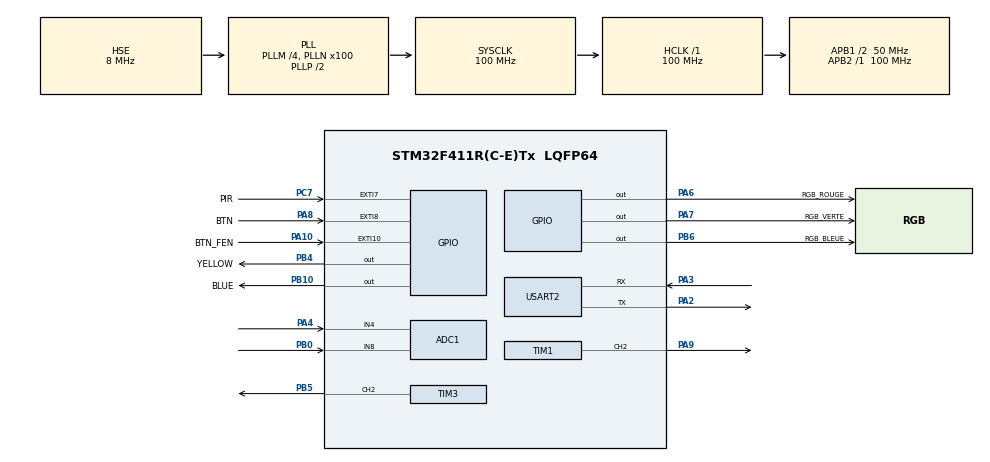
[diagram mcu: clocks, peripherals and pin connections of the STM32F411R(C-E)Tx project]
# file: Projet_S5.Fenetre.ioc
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ADC1.Channel-0\#ChannelRegularConversion=ADC_CHANNEL_4
ADC1.Channel-1\#ChannelRegularConversion=ADC_CHANNEL_8
ADC1.DMAContinuousRequests=ENABLE
ADC1.ExternalTrigConv=ADC_EXTERNALTRIGCONV_T2_TRGO
ADC1.NbrOfConversion=2
ADC1.NbrOfConversionFlag=1
ADC1.Rank-0\#ChannelRegularConversion=1
ADC1.Rank-1\#ChannelRegularConversion=2
ADC1.SamplingTime-0\#ChannelRegularConversion=ADC_SAMPLETIME_3CYCLES
ADC1.SamplingTime-1\#ChannelRegularConversion=ADC_SAMPLETIME_3CYCLES
ADC1.ScanConvMode=ENABLE
ADC1.master=1
Dma.ADC1.0.Direction=DMA_PERIPH_TO_MEMORY
Dma.ADC1.0.FIFOMode=DMA_FIFOMODE_DISABLE
Dma.ADC1.0.Instance=DMA2_Stream0
Dma.ADC1.0.MemDataAlignment=DMA_MDATAALIGN_HALFWORD
Dma.ADC1.0.MemInc=DMA_MINC_ENABLE
Dma.ADC1.0.Mode=DMA_CIRCULAR
Dma.ADC1.0.PeriphDataAlignment=DMA_PDATAALIGN_HALFWORD
Dma.ADC1.0.PeriphInc=DMA_PINC_DISABLE
Dma.ADC1.0.Priority=DMA_PRIORITY_LOW
Dma.Request0=ADC1
Mcu.Family=STM32F4
Mcu.Name=STM32F411R(C-E)Tx
Mcu.Package=LQFP64
NVIC.ADC_IRQn=true\:0\:0\:false\:false\:true\:true\:true\:true
NVIC.DMA2_Stream0_IRQn=true\:0\:0\:false\:false\:true\:false\:true\:true
NVIC.EXTI15_10_IRQn=true\:0\:0\:false\:false\:true\:true\:true\:true
NVIC.EXTI9_5_IRQn=true\:0\:0\:false\:false\:true\:true\:true\:true
NVIC.PriorityGroup=NVIC_PRIORITYGROUP_4
NVIC.TIM2_IRQn=true\:0\:0\:false\:false\:true\:true\:true\:true
NVIC.TIM5_IRQn=true\:0\:0\:false\:false\:true\:true\:true\:true
PA10.GPIO_Label=BTN_FEN
PA10.GPIO_ModeDefaultEXTI=GPIO_MODE_IT_RISING
PA10.GPIO_PuPd=GPIO_PULLDOWN
PA10.Signal=GPXTI10
PA13.Mode=Serial_Wire
PA13.Signal=SYS_JTMS-SWDIO
PA14.Mode=Serial_Wire
PA14.Signal=SYS_JTCK-SWCLK
PA2.Mode=Asynchronous
PA2.Signal=USART2_TX
PA3.Mode=Asynchronous
PA3.Signal=USART2_RX
PA4.Signal=ADCx_IN4
PA6.GPIO_Label=RGB_ROUGE
PA6.GPIO_PuPd=GPIO_PULLDOWN
PA6.Signal=GPIO_Output
PA7.GPIO_Label=RGB_VERTE
PA7.GPIO_PuPd=GPIO_PULLDOWN
PA7.Signal=GPIO_Output
PA8.GPIO_Label=BTN
PA8.GPIO_ModeDefaultEXTI=GPIO_MODE_IT_RISING
PA8.GPIO_PuPd=GPIO_PULLDOWN
PA8.Signal=GPXTI8
PA9.Signal=S_TIM1_CH2
PB0.Signal=ADCx_IN8
PB10.GPIO_Label=BLUE
PB10.Signal=GPIO_Output
PB4.GPIO_Label=YELLOW
PB4.GPIO_PuPd=GPIO_PULLDOWN
PB4.Signal=GPIO_Output
PB5.Signal=S_TIM3_CH2
PB6.GPIO_Label=RGB_BLEUE
PB6.GPIO_PuPd=GPIO_PULLDOWN
PB6.Signal=GPIO_Output
PC7.GPIO_Label=PIR
PC7.GPIO_ModeDefaultEXTI=GPIO_MODE_IT_RISING
PC7.GPIO_PuPd=GPIO_PULLDOWN
PC7.Signal=GPXTI7
PH0\ -\ OSC_IN.Mode=HSE-External-Oscillator
PH0\ -\ OSC_IN.Signal=RCC_OSC_IN
PH1\ -\ OSC_OUT.Mode=HSE-External-Oscillator
PH1\ -\ OSC_OUT.Signal=RCC_OSC_OUT
ProjectManager.HeapSize=0x200
ProjectManager.StackSize=0x400
ProjectManager.TargetToolchain=STM32CubeIDE
RCC.48MHZClocksFreq_Value=50000000
RCC.AHBFreq_Value=100000000
RCC.APB1CLKDivider=RCC_HCLK_DIV2
RCC.APB1Freq_Value=50000000
RCC.APB1TimFreq_Value=100000000
RCC.APB2Freq_Value=100000000
RCC.APB2TimFreq_Value=100000000
RCC.CortexFreq_Value=100000000
RCC.HCLKFreq_Value=100000000
RCC.HSE_VALUE=8000000
RCC.HSI_VALUE=16000000
RCC.LSE_VALUE=32768
RCC.PLLM=4
RCC.PLLN=100
RCC.PLLSourceVirtual=RCC_PLLSOURCE_HSE
RCC.SYSCLKFreq_VALUE=100000000
RCC.SYSCLKSource=RCC_SYSCLKSOURCE_PLLCLK
RCC.VCOOutputFreq_Value=200000000
SH.ADCx_IN4.0=ADC1_IN4,IN4
SH.ADCx_IN8.0=ADC1_IN8,IN8
SH.S_TIM1_CH2.0=TIM1_CH2,PWM Generation2 CH2
SH.S_TIM3_CH2.0=TIM3_CH2,PWM Generation2 CH2
TIM1.Channel-PWM\ Generation2\ CH2=TIM_CHANNEL_2
TIM1.Period=50000-1
TIM1.Prescaler=40-1
TIM1.Pulse-PWM\ Generation2\ CH2=3750
TIM2.Period=20000-1
TIM2.Prescaler=10000-1
TIM2.TIM_MasterOutputTrigger=TIM_TRGO_UPDATE
TIM3.Channel-PWM\ Generation2\ CH2=TIM_CHANNEL_2
TIM3.OCMode_PWM-PWM\ Generation2\ CH2=TIM_OCMODE_PWM1
TIM3.Period=56818-1
TIM3.Prescaler=4-1
TIM3.Pulse-PWM\ Generation2\ CH2=28409
TIM5.Period=500-1
TIM5.Prescaler=10000-1
USART2.VirtualMode=VM_ASYNC
VP_TIM1_VS_ClockSourceINT.Mode=Internal
VP_TIM2_VS_ClockSourceINT.Mode=Internal
VP_TIM3_VS_ClockSourceINT.Mode=Internal
VP_TIM5_VS_ClockSourceINT.Mode=Internal
board=custom

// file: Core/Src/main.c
/* USER CODE BEGIN Header */
/**
  ******************************************************************************
  * @file           : main.c
  * @brief          : Main program body
  ******************************************************************************
  * @attention
  *
  * Copyright (c) 2026 STMicroelectronics.
  * All rights reserved.
  *
  * This software is licensed under terms that can be found in the LICENSE file
  * in the root directory of this software component.
  * If no LICENSE file comes with this software, it is provided AS-IS.
  *
  ******************************************************************************
  */
/* USER CODE END Header */
#include "main.h"
#include "adc.h"
#include "dma.h"
#include "tim.h"
#include "usart.h"
#include "gpio.h"

/* USER CODE BEGIN Includes */
#include "stdbool.h"
#include <stdio.h>
/* USER CODE END Includes */

/* USER CODE BEGIN PD */
// BTN_FEN | D2 | PA_10 | INPUT PULLUP

// BUZZER | D4 | PB_5 | TIMER 3 - CHANNEL 2

// JAUNE | D5 | PB_4 | OUTPUT PULLDOWN

// BLEUE | D6 | PB_10 | OUTPUT PULLDOWN

// BOUTON | D7 | PB_3 | INPUT PULLDOWN

// SERVO | D8 | PA_9 | TIMER 1 - CHANNEL 2

// PIR | D9 | PC_7 | INPUT PULLDOWN

// RGB_BLEU | D10 | PB_6 | OUTPUT PULLDOWN

// RGB_VERT | D11 | PA_7 | OUTPUT PULLDOWN

// RGB_ROUGE | D12 | PA_6 | OUTPUT PULLDOWN

// GAZ | A2 | PA_4 | ADC 1 - CHANNEL 4

// PLUIE | A3 | PB_0 | ADC 1 - CHANNEL 8

#define TIMER_SERVO (&htim1)
#define TIMER_CAPTEURS (&htim2)
#define TIMER_BUZZER (&htim3)
#define TIMER_DEBOUNCE (&htim5)
#define SERVO_CHANNEL TIM_CHANNEL_2
#define BUZZER_CHANNEL TIM_CHANNEL_2

#define ADC_CAPTEURS (&hadc1)
#define NBR_CAPTEURS_ADC 2

#define TIMER_DEBOUNCE_FREQ 20
#define TIMER_SERVO_FREQ    2500000
#define TIMER_CAPTEURS_FREQ 0.5
#define TIMER_BUZZER_FREQ   25000000

#define FREQ_BUZZER_ALARM_GAZ 440
#define FREQ_BUZZER_ALARM_INTRUSION 384
#define FREQ_BLINK_ALARME_GAZ 10
#define FREQ_BLINK_ALARME_INTRUSION 2

#define SEUIL_GAZ 1700
#define SEUIL_PLUIE 3000

#define FREQ_PWM_SERVO 50
#define SERVO_0_DEG_MS 0.5
#define SERVO_180_DEG_MS 2.5

#define HOME true
#define AWAY false
#define OUVERTE true
#define FERMEE false
/* USER CODE END PD */

/* USER CODE BEGIN PV */
volatile bool mode = HOME;
volatile bool buzzer = false;
volatile bool falling_edge_home_detected = false;
volatile bool falling_edge_fen_detected = false;
volatile bool presence_detectee = false;
volatile bool alarme_gaz = false;
volatile bool alarme_intrusion = false;
volatile bool bouton_home_appuye = false;
volatile bool bouton_fen_appuye = false;
volatile bool fenetre = false;
volatile bool mesure_capteurs_prete = false;
volatile bool led_alarme_intrusion = false;
volatile bool led_alarme_gaz = false;
volatile bool timer_debounce_flag = false;
volatile bool pluie_detectee = false;
volatile int blink_counter_alarm = 0;
volatile int gaz_valeur = 0;
volatile int pluie_valeur = 0;
volatile uint16_t adc_valeurs[2];
/* USER CODE END PV */

void SystemClock_Config(void);

/* USER CODE BEGIN 0 */

void angle_servo(int angle){
	int angle_to_tics = (((SERVO_0_DEG_MS/1000.0) + (angle / 180.0) * (SERVO_180_DEG_MS - SERVO_0_DEG_MS)/1000.0)) * TIMER_SERVO_FREQ;
	__HAL_TIM_SET_COMPARE(TIMER_SERVO, SERVO_CHANNEL ,angle_to_tics);
}

void commande_fenetre(){
	if (fenetre == OUVERTE){
		angle_servo(120);
	}
	if (fenetre == FERMEE){
		angle_servo(0);
	}
}

void commande_led(){
	if (led_alarme_gaz) {
		HAL_GPIO_WritePin(RGB_ROUGE_GPIO_Port, RGB_ROUGE_Pin, 1);
	} else {
		HAL_GPIO_WritePin(RGB_ROUGE_GPIO_Port, RGB_ROUGE_Pin, 0);
	}
	if (led_alarme_intrusion) {
		HAL_GPIO_WritePin(YELLOW_GPIO_Port, YELLOW_Pin, 1);
	} else {
		HAL_GPIO_WritePin(YELLOW_GPIO_Port, YELLOW_Pin, 0);
	}
}

void commande_buzzer() {
	if (buzzer) {
	  HAL_TIM_PWM_Start(TIMER_BUZZER, BUZZER_CHANNEL);
	} else {
	  HAL_TIM_PWM_Stop(TIMER_BUZZER, BUZZER_CHANNEL);
	}
}

void frequence_buzzer(int frequence) {
	int periode_tics = (double)TIMER_BUZZER_FREQ/frequence;
	int pulse_tics = periode_tics/2;
	__HAL_TIM_SET_AUTORELOAD(TIMER_BUZZER, periode_tics);
	__HAL_TIM_SET_COMPARE(TIMER_BUZZER, BUZZER_CHANNEL, pulse_tics);
}

void evaluer_gaz() {
	if (gaz_valeur >= SEUIL_GAZ) {
    printf("Gaz detecte !\r\n");
		alarme_gaz = true;
	} else {
		alarme_gaz = false;
	}
    printf("                                      VALEURS CAPTEURS: gaz = %d\r\n", gaz_valeur);
}

void evaluer_pluie() {
	if (pluie_valeur >= SEUIL_PLUIE) {
		printf("Pluie detecte !\r\n");
		pluie_detectee = true;
	} else {
		pluie_detectee = false;
	}
	printf("                                      VALEURS CAPTEURS: pluie = %d\r\n", pluie_valeur);
}

void debounce_filter() {
	if (falling_edge_home_detected && !HAL_GPIO_ReadPin(BTN_GPIO_Port, BTN_Pin)) {
		bouton_home_appuye = true;
		falling_edge_home_detected = false;
	}

	if (falling_edge_fen_detected && !HAL_GPIO_ReadPin(BTN_FEN_GPIO_Port, BTN_FEN_Pin)) {
		bouton_fen_appuye = true;
		falling_edge_fen_detected = false;
	}

}

void update_cycle_alarme() {
	if (!alarme_gaz && !alarme_intrusion) {
		buzzer = false;
		led_alarme_intrusion = false;
		led_alarme_gaz = false;
	}
	if (alarme_gaz && !alarme_intrusion) {
		frequence_buzzer(FREQ_BLINK_ALARME_GAZ);
		led_alarme_intrusion = false;
		blink_counter_alarm ++;
		if (blink_counter_alarm == TIMER_DEBOUNCE_FREQ/(2*FREQ_BLINK_ALARME_GAZ)) {
			led_alarme_gaz = !led_alarme_gaz;
			buzzer = !buzzer;
			blink_counter_alarm = 0;
		}
	}
	if (!alarme_gaz && alarme_intrusion) {
		frequence_buzzer(FREQ_BLINK_ALARME_INTRUSION);
		led_alarme_gaz = false;
		blink_counter_alarm ++;
		if (blink_counter_alarm == TIMER_DEBOUNCE_FREQ/(2*FREQ_BLINK_ALARME_INTRUSION)) {
			led_alarme_intrusion = !led_alarme_intrusion;
			buzzer = !buzzer;
			blink_counter_alarm = 0;
		}
	}
	if (alarme_gaz && alarme_intrusion) {
		blink_counter_alarm ++;
		if (blink_counter_alarm < TIMER_DEBOUNCE_FREQ/(2*FREQ_BLINK_ALARME_INTRUSION)) {
			led_alarme_intrusion = !led_alarme_intrusion;
			frequence_buzzer(FREQ_BLINK_ALARME_GAZ);
			led_alarme_intrusion = false;
			if (blink_counter_alarm % TIMER_DEBOUNCE_FREQ/(2*FREQ_BLINK_ALARME_GAZ)) {
				led_alarme_gaz = !led_alarme_gaz;
				buzzer = !buzzer;
			}
		} else {
			frequence_buzzer(FREQ_BLINK_ALARME_INTRUSION);
			led_alarme_gaz = false;
			buzzer = true;
			if (blink_counter_alarm < TIMER_DEBOUNCE_FREQ/(FREQ_BLINK_ALARME_INTRUSION)) {
				blink_counter_alarm = 0;
			}
		}
	}
}
/* USER CODE END 0 */

int main(void)
{

  /* MCU Configuration--------------------------------------------------------*/

  /* Reset of all peripherals, Initializes the Flash interface and the Systick. */
  HAL_Init();

  /* Configure the system clock */
  SystemClock_Config();

  /* Initialize all configured peripherals */
  MX_GPIO_Init();
  MX_DMA_Init();
  MX_TIM2_Init();
  MX_TIM3_Init();
  MX_TIM5_Init();
  MX_ADC1_Init();
  MX_USART2_UART_Init();
  MX_TIM1_Init();
  /* USER CODE BEGIN 2 */
  HAL_TIM_Base_Start_IT(TIMER_DEBOUNCE);
  HAL_TIM_Base_Start_IT(TIMER_CAPTEURS);
  HAL_TIM_PWM_Start(TIMER_BUZZER, BUZZER_CHANNEL);
  HAL_TIM_PWM_Start(TIMER_SERVO, SERVO_CHANNEL);
  HAL_ADC_Start_DMA(ADC_CAPTEURS, (uint32_t*)adc_valeurs, NBR_CAPTEURS_ADC);

  printf("\r\n--- Demarrage Systeme STM32 ---\r\n\n");
  printf("Seuil gaz configure: %d\r\n", SEUIL_GAZ);
  printf("Frequence clignotement alarme gaz: %d Hz\r\n", FREQ_BLINK_ALARME_GAZ);
  printf("Frequence clignotement alarme intrusion: %d Hz\r\n", FREQ_BLINK_ALARME_INTRUSION);
  printf("Periode echantillonnage capteurs: %d s\r\n", (int)(1/TIMER_CAPTEURS_FREQ));
  printf("Periode debounce bouton: %d ms\r\n", (int)(1000/TIMER_DEBOUNCE_FREQ));
  printf("\r\n");

  /* USER CODE END 2 */

  /* Infinite loop */
  while (1)
  {

    /* USER CODE BEGIN 3 */
	// Mesures capteurs

    // Machine à état avec HOME et AWAY
    if (mode == HOME) {
        alarme_intrusion = false;
      if(bouton_home_appuye) {
        bouton_home_appuye = false;
        mode = AWAY;
        fenetre = false;
        printf("Je sors de la maison\r\n");
      }
      else if (pluie_detectee){
    	  fenetre = false;
    	  bouton_fen_appuye = false;
      } else if(bouton_fen_appuye) {
	  		bouton_fen_appuye = false;
	  		if (fenetre == OUVERTE) {
	  			fenetre = FERMEE;
	  			printf("Je ferme la fenetre\r\n");
	  		} else if (fenetre == FERMEE) {
				fenetre = OUVERTE;
				printf("J'ouvre la fenetre\r\n");
			}

	  	}
    }
    if ( mode == AWAY) {
    	bouton_fen_appuye = false;
      if(bouton_home_appuye) {
        bouton_home_appuye = false;
        mode = HOME;
        printf("Je rentre à la maison\r\n");
      }
      else if (presence_detectee) {
        alarme_intrusion = true;
        presence_detectee = false;
        printf("Intrusion detectee !\r\n");
      }
	}

	// en continu
    commande_buzzer();
    commande_led();
    commande_fenetre();
    if (timer_debounce_flag == true) {
    	timer_debounce_flag = false;
        debounce_filter();
        update_cycle_alarme();
    }
    if (mesure_capteurs_prete){
		mesure_capteurs_prete = false;
		evaluer_pluie();
		evaluer_gaz();
	}
  }

  /* USER CODE END 3 */
}

void SystemClock_Config(void)
{
  RCC_OscInitTypeDef RCC_OscInitStruct = {0};
  RCC_ClkInitTypeDef RCC_ClkInitStruct = {0};

  /** Configure the main internal regulator output voltage
  */
  __HAL_RCC_PWR_CLK_ENABLE();
  __HAL_PWR_VOLTAGESCALING_CONFIG(PWR_REGULATOR_VOLTAGE_SCALE1);

  /** Initializes the RCC Oscillators according to the specified parameters
  * in the RCC_OscInitTypeDef structure.
  */
  RCC_OscInitStruct.OscillatorType = RCC_OSCILLATORTYPE_HSE;
  RCC_OscInitStruct.HSEState = RCC_HSE_ON;
  RCC_OscInitStruct.PLL.PLLState = RCC_PLL_ON;
  RCC_OscInitStruct.PLL.PLLSource = RCC_PLLSOURCE_HSE;
  RCC_OscInitStruct.PLL.PLLM = 4;
  RCC_OscInitStruct.PLL.PLLN = 100;
  RCC_OscInitStruct.PLL.PLLP = RCC_PLLP_DIV2;
  RCC_OscInitStruct.PLL.PLLQ = 4;
  if (HAL_RCC_OscConfig(&RCC_OscInitStruct) != HAL_OK)
  {
    Error_Handler();
  }

  /** Initializes the CPU, AHB and APB buses clocks
  */
  RCC_ClkInitStruct.ClockType = RCC_CLOCKTYPE_HCLK|RCC_CLOCKTYPE_SYSCLK
                              |RCC_CLOCKTYPE_PCLK1|RCC_CLOCKTYPE_PCLK2;
  RCC_ClkInitStruct.SYSCLKSource = RCC_SYSCLKSOURCE_PLLCLK;
  RCC_ClkInitStruct.AHBCLKDivider = RCC_SYSCLK_DIV1;
  RCC_ClkInitStruct.APB1CLKDivider = RCC_HCLK_DIV2;
  RCC_ClkInitStruct.APB2CLKDivider = RCC_HCLK_DIV1;

  if (HAL_RCC_ClockConfig(&RCC_ClkInitStruct, FLASH_LATENCY_3) != HAL_OK)
  {
    Error_Handler();
  }
}

/* USER CODE BEGIN 4 */

// Redirection du printf vers USART2
int __io_putchar(int ch) {
    HAL_UART_Transmit(&huart2, (uint8_t *)&ch, 1, HAL_MAX_DELAY);
    return ch;
}

//void update_cycle_alarme_intrusion() {
//	if (alarme_intrusion == true) {
//		blink_counter_alarm_intrusion ++;
//		if (blink_counter_alarm_intrusion == TIMER_DEBOUNCE_FREQ/(2*FREQ_BLINK_ALARME_INTRUSION)) {
//			HAL_GPIO_TogglePin(YELLOW_GPIO_Port, YELLOW_Pin);
//			buzzer = !buzzer;
//			blink_counter_alarm_intrusion = 0;
//		}
//	}
//}
//
//void update_cycle_alarme_gaz() {
//	if (alarme_gaz == true) {
//		blink_counter_alarm_gaz ++;
//		if (blink_counter_alarm_gaz == TIMER_DEBOUNCE_FREQ/(2*FREQ_BLINK_ALARME_GAZ)) {
//			HAL_GPIO_TogglePin(RGB_ROUGE_GPIO_Port, RGB_ROUGE_Pin);
//			buzzer = !buzzer;
//			blink_counter_alarm_gaz = 0;
//		}
//	}
//}

// INterruption des GPIO
void HAL_GPIO_EXTI_Callback(uint16_t GPIO_Pin){
	// Bouton avec Debounce
	if (GPIO_Pin == BTN_Pin)
	{
		if (!falling_edge_home_detected) {
			falling_edge_home_detected = true;
			__HAL_TIM_SET_COUNTER(TIMER_DEBOUNCE, 0);
		}
	}
	// PIR mouvement détecté
	if (GPIO_Pin == PIR_Pin)
	{
		if (mode == AWAY){
			presence_detectee = true;
		}
	}
	if (GPIO_Pin == BTN_FEN_Pin){
		if (!falling_edge_fen_detected) {
			falling_edge_fen_detected = true;
			__HAL_TIM_SET_COUNTER(TIMER_DEBOUNCE, 0);
		}
	}
}

void HAL_TIM_PeriodElapsedCallback(TIM_HandleTypeDef *htim)
{
  if (htim == TIMER_DEBOUNCE)
  {
	timer_debounce_flag = true;
  }
  if (htim == TIMER_CAPTEURS)
  {
    HAL_GPIO_TogglePin(BLUE_GPIO_Port, BLUE_Pin);
  }
}

void HAL_ADC_ConvCpltCallback(ADC_HandleTypeDef* hadc)
{
    if (hadc == ADC_CAPTEURS)
    {
        gaz_valeur   = adc_valeurs[0];
        pluie_valeur = adc_valeurs[1];
        mesure_capteurs_prete = true;
    }
}
/* USER CODE END 4 */

void Error_Handler(void)
{
  __disable_irq();
  while (1)
  {
  }
}
